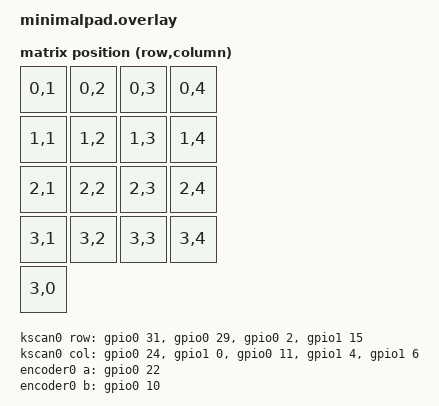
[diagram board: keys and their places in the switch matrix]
#include <dt-bindings/zmk/matrix_transform.h>
#include <dt-bindings/gpio/gpio.h>
#include <dt-bindings/led/led.h>
#include "elpekenin/behaviors.dtsi"

#define NC 0xFFFFFFFF  /* Use to signal that a pin is not connected */

/ {
    chosen {
        zmk,kscan = &kscan0;
        zmk,matrix_transform = &default_transform;
        zmk,underglow = &led_strip;
    };

    aliases {
        default-led = &led_default;
        lower-led = &led_lower;
        raise-led = &led_raise;
    };

    gpios {
        compatible = "gpio-leds";
        led_default: default {
            gpios = <&gpio1 13 GPIO_ACTIVE_LOW>;  // D15 - Default layer
            label = "Default Layer LED";
        };
        led_lower: lower {
            gpios = <&gpio0 9 GPIO_ACTIVE_LOW>;   // D10 - Lower layer
            label = "Lower Layer LED";
        };
        led_raise: raise {
            gpios = <&gpio1 11 GPIO_ACTIVE_LOW>;  // D14 - Raise layer
            label = "Raise Layer LED";
        };
    };

    layer_callbacks {
        compatible = "elpekenin,layer-callback";
        
        default_layer_on {
            layer = <0>;  // DEFAULT layer
            event = "on-activation";
            bindings = <&gpio1 13 GPIO_ACTIVE_LOW>;  // D15 - turn on
        };
        default_layer_off {
            layer = <0>;  // DEFAULT layer
            event = "on-deactivation";
            bindings = <&gpio1 13 GPIO_ACTIVE_HIGH>;  // D15 - turn off
        };
        
        lower_layer_on {
            layer = <1>;  // LOWER layer
            event = "on-activation";
            bindings = <&gpio0 9 GPIO_ACTIVE_LOW>;   // D10 - turn on
        };
        lower_layer_off {
            layer = <1>;  // LOWER layer
            event = "on-deactivation";
            bindings = <&gpio0 9 GPIO_ACTIVE_HIGH>;  // D10 - turn off
        };
        
        raise_layer_on {
            layer = <2>;  // RAISE layer
            event = "on-activation";
            bindings = <&gpio1 11 GPIO_ACTIVE_LOW>;  // D14 - turn on
        };
        raise_layer_off {
            layer = <2>;  // RAISE layer
            event = "on-deactivation";
            bindings = <&gpio1 11 GPIO_ACTIVE_HIGH>;  // D14 - turn off
        };
    };

    default_transform: keymap_transform_0 {
        compatible = "zmk,matrix-transform";
        columns = <5>;
        rows = <4>;
        map = <
            RC(0,1) RC(0,2) RC(0,3) RC(0,4)
            RC(1,1) RC(1,2) RC(1,3) RC(1,4)
            RC(2,1) RC(2,2) RC(2,3) RC(2,4)
            RC(3,1) RC(3,2) RC(3,3) RC(3,4)
            RC(3,0)                          // Encoder button as separate key
        >;
    };

    kscan0: kscan_0 {
        compatible = "zmk,kscan-gpio-matrix";
        diode-direction = "col2row";

        col-gpios
            = <&gpio0 24 GPIO_ACTIVE_HIGH>  // Col 0 - D5 (Encoder button)
            , <&gpio1 0 GPIO_ACTIVE_HIGH>   // Col 1 - D6 (P1.00)
            , <&gpio0 11 GPIO_ACTIVE_HIGH>  // Col 2 - D7 (P0.11)
            , <&gpio1 4 GPIO_ACTIVE_HIGH>   // Col 3 - D8 (P1.04)
            , <&gpio1 6 GPIO_ACTIVE_HIGH>   // Col 4 - D9 (P1.06)
            ;

        row-gpios
            = <&gpio0 31 (GPIO_ACTIVE_HIGH | GPIO_PULL_DOWN)>  // Row 0 - D21 (P0.31)
            , <&gpio0 29 (GPIO_ACTIVE_HIGH | GPIO_PULL_DOWN)>  // Row 1 - D20 (P0.29)
            , <&gpio0 2 (GPIO_ACTIVE_HIGH | GPIO_PULL_DOWN)>   // Row 2 - D19 (P0.02)
            , <&gpio1 15 (GPIO_ACTIVE_HIGH | GPIO_PULL_DOWN)>  // Row 3 - D18 (P1.15)
            ;
    };

    sensors {
        compatible = "zmk,keymap-sensors";
        sensors = <&encoder0>;
    };

    encoder0: encoder_0 {
        compatible = "alps,ec11";
        a-gpios = <&gpio0 22 (GPIO_ACTIVE_HIGH | GPIO_PULL_UP)>;  // D4
        b-gpios = <&gpio0 10 (GPIO_ACTIVE_HIGH | GPIO_PULL_UP)>;  // D16
        status = "okay";
    };
};

&pinctrl {
    spi3_default: spi3_default {
        group1 {
            psels = <NRF_PSEL(SPIM_MOSI, 0, 17)>;
        };
        #sensor-binding-cells = <2>;
    };

    spi3_sleep: spi3_sleep {
        group1 {
            psels = <NRF_PSEL(SPIM_MOSI, 0, 17)>;
            low-power-enable;
        };
    };
};

&spi3 {
    compatible = "nordic,nrf-spim";
    status = "okay";

    pinctrl-0 = <&spi3_default>;
    pinctrl-1 = <&spi3_sleep>;
    pinctrl-names = "default", "sleep";

    led_strip: ws2812@0 {
        compatible = "worldsemi,ws2812-spi";

        /* SPI */
        reg = <0>;
        spi-max-frequency = <4000000>;

        /* WS2812 */
        chain-length = <16>; /* number of LEDs */
        spi-one-frame = <0x70>;
        spi-zero-frame = <0x40>;
        color-mapping = <LED_COLOR_ID_RED LED_COLOR_ID_GREEN LED_COLOR_ID_BLUE>;
    };
};

&timer0 {
    status = "okay";
    compatible = "nordic,nrf-timer";
    prescaler = <4>;
};

&timer1 {
    status = "okay";
    compatible = "nordic,nrf-timer";
    prescaler = <4>;
};


